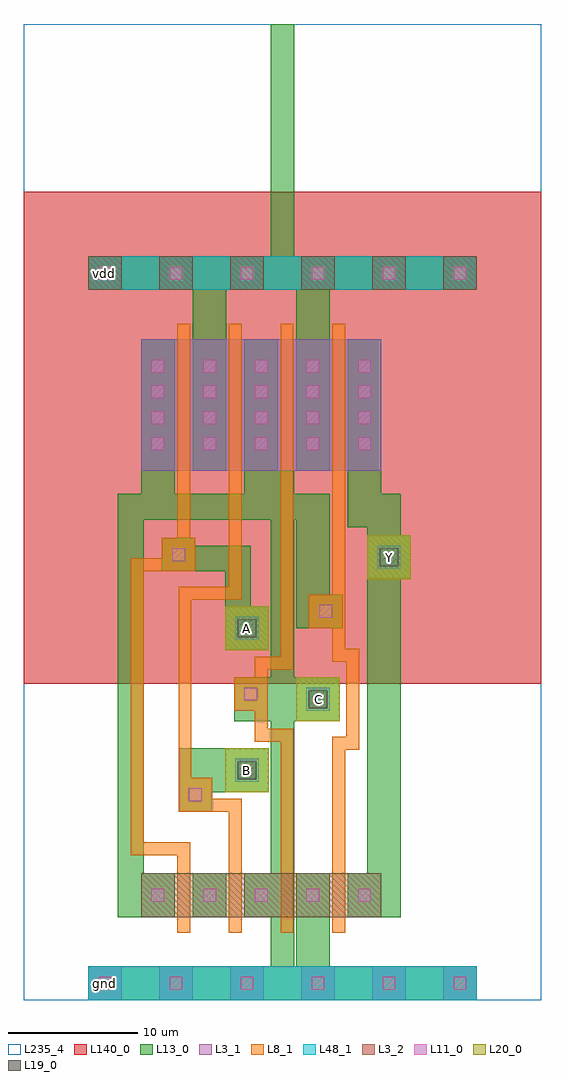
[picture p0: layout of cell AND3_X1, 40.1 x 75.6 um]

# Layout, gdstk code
import gdstk
lib = gdstk.Library(unit=1e-6, precision=1e-09)
def R(c, l, rs):  # rectangles x0, y0, x1, y1
    for r in rs: c.add(gdstk.rectangle(r[:2], r[2:], *l))
def A(c, l, x, y, w, h, nx, ny, dx, dy):  # array of equal rectangles
    R(c, l, [(x+i*dx, y+j*dy, x+i*dx+w, y+j*dy+h) for i in range(nx) for j in range(ny)])
def P(c, l, *ps):  # polygons
    for p in ps: c.add(gdstk.Polygon(p, *l))
L3_1 = (3, 1)
L3_2 = (3, 2)
L8_1 = (8, 1)
L11_0 = (11, 0)
L13_0 = (13, 0)
L19_0 = (19, 0)
L20_0 = (20, 0)
L48_1 = (48, 1)
L140_0 = (140, 0)
L235_4 = (235, 4)

and3_x1 = lib.new_cell('AND3_X1')
A(and3_x1, L3_1, 5, 0, 2.6, 2.6, 6, 1, 5.5, 0)
R(and3_x1, L3_1, [(9.1,41,27.7,51.2)])
A(and3_x1, L3_2, 5, 55, 2.6, 2.6, 6, 1, 5.5, 0)
R(and3_x1, L3_2, [(9.1,6.4,27.7,9.8)])
P(and3_x1, L8_1, [(11.9,5.2),(11.9,11.2),(8.3,11.2),(8.3,34.2),(10.7,34.2),(10.7,35.8),(11.9,35.8),(11.9,52.4),(12.9,52.4),(12.9,35.8),(13.3,35.8),(13.3,33.2),(9.3,33.2),(9.3,12.2),(12.9,12.2),(12.9,5.2)],
  [(15.9,5.2),(15.9,14.6),(12,14.6),(12,32),(15.9,32),(15.9,52.4),(16.9,52.4),(16.9,31),(13,31),(13,17.2),(14.6,17.2),(14.6,15.6),(16.9,15.6),(16.9,5.2)],
  [(19.9,5.2),(19.9,20),(17.9,20),(17.9,22.4),(16.3,22.4),(16.3,25),(17.9,25),(17.9,26.6),(19.9,26.6),(19.9,52.4),(20.9,52.4),(20.9,25.6),(18.9,25.6),(18.9,21),(20.9,21),(20.9,5.2)],
  [(23.9,5.2),(23.9,20.4),(25,20.4),(25,26.2),(23.9,26.2),(23.9,28.8),(22.1,28.8),(22.1,31.4),(23.9,31.4),(23.9,52.4),(24.9,52.4),(24.9,27.2),(26,27.2),(26,19.4),(24.9,19.4),(24.9,5.2)])
A(and3_x1, L11_0, 5.8, 0.8, 1, 1, 6, 2, 5.5, 55)
A(and3_x1, L11_0, 9.9, 42.6, 1, 1, 1, 4, 0, 2)
A(and3_x1, L11_0, 25.9, 42.6, 1, 1, 1, 4, 0, 2)
R(and3_x1, L11_0, [(9.9,7.6,10.9,8.6), (13.9,7.6,14.9,8.6), (13.9,7.6,14.9,8.6), (17.9,7.6,18.9,8.6), (17.9,7.6,18.9,8.6), (21.9,7.6,22.9,8.6), (21.9,7.6,22.9,8.6), (25.9,7.6,26.9,8.6), (12.8,15.4,13.8,16.4), (17.1,23.2,18.1,24.2), (22.9,29.6,23.9,30.6), (11.5,34,12.5,35), (13.9,42.6,14.9,43.6), (13.9,42.6,14.9,43.6), (17.9,42.6,18.9,43.6), (17.9,42.6,18.9,43.6), (21.9,42.6,22.9,43.6), (21.9,42.6,22.9,43.6), (13.9,44.6,14.9,45.6), (13.9,44.6,14.9,45.6), (17.9,44.6,18.9,45.6), (17.9,44.6,18.9,45.6), (21.9,44.6,22.9,45.6), (21.9,44.6,22.9,45.6), (13.9,46.6,14.9,47.6), (13.9,46.6,14.9,47.6), (17.9,46.6,18.9,47.6), (17.9,46.6,18.9,47.6), (21.9,46.6,22.9,47.6), (21.9,46.6,22.9,47.6), (13.9,48.6,14.9,49.6), (13.9,48.6,14.9,49.6), (17.9,48.6,18.9,49.6), (17.9,48.6,18.9,49.6), (21.9,48.6,22.9,49.6), (21.9,48.6,22.9,49.6)])
R(and3_x1, L13_0, [(13.1,6.4,15.7,9.8)])
P(and3_x1, L13_0, [(12,14.6),(12,19.5),(19,19.5),(19,16.1),(14.6,16.1),(14.6,14.6)],
  [(15.6,27.1),(15.6,33.2),(10.7,33.2),(10.7,35.8),(13.3,35.8),(13.3,35.2),(17.6,35.2),(17.6,30.5),(19,30.5),(19,27.1)],
  [(5,0),(5,2.6),(19.15,2.6),(19.15,6.4),(17.1,6.4),(17.1,9.8),(19.15,9.8),(19.15,21.6),(16.3,21.6),(16.3,25),(19.15,25),(19.15,37.2),(9.3,37.2),(9.3,9.8),(11.7,9.8),(11.7,6.4),(7.3,6.4),(7.3,39.2),(9.1,39.2),(9.1,51.2),(11.7,51.2),(11.7,39.2),(17.1,39.2),(17.1,51.2),(19.7,51.2),(19.7,41),(20.95,41),(20.95,39.2),(23.7,39.2),(23.7,31.4),(24.7,31.4),(24.7,28.8),(21.1,28.8),(21.1,37.2),(20.95,37.2),(20.95,25),(24.5,25),(24.5,21.6),(20.95,21.6),(20.95,2.6),(21.1,2.6),(21.1,9.8),(23.7,9.8),(23.7,2.6),(35.1,2.6),(35.1,0)],
  [(25.1,6.4),(25.1,9.8),(26.6,9.8),(26.6,36.6),(25.1,36.6),(25.1,51.2),(27.7,51.2),(27.7,39.2),(29.2,39.2),(29.2,36),(30,36),(30,32.6),(29.2,32.6),(29.2,6.4)],
  [(13.1,41),(13.1,55),(5,55),(5,57.6),(19.15,57.6),(19.15,75.6),(20.95,75.6),(20.95,57.6),(35.1,57.6),(35.1,55),(23.7,55),(23.7,41),(21.1,41),(21.1,55),(15.7,55),(15.7,41)])
R(and3_x1, L19_0, [(16.6,17.1,18,18.5), (22.1,22.6,23.5,24), (16.6,28.1,18,29.5), (27.6,33.6,29,35)])
R(and3_x1, L20_0, [(15.6,16.1,19,19.5), (21.1,21.6,24.5,25), (15.6,27.1,19,30.5), (26.6,32.6,30,36)])
R(and3_x1, L48_1, [(5,0,35.1,2.6), (16.4,16.9,18.2,18.7), (21.9,22.4,23.7,24.2), (16.4,27.9,18.2,29.7), (27.4,33.4,29.2,35.2), (5,55,35.1,57.6)])
R(and3_x1, L140_0, [(0,24.5,40.1,62.6)])
R(and3_x1, L235_4, [(0,0,40.1,75.6)])
and3_x1.add(gdstk.Label('vdd', (6.3,56.3), layer=48, texttype=0))
and3_x1.add(gdstk.Label('gnd', (6.3,1.3), layer=48, texttype=0))
and3_x1.add(gdstk.Label('Y', (28.3,34.3), layer=48, texttype=0))
and3_x1.add(gdstk.Label('A', (17.3,28.8), layer=48, texttype=0))
and3_x1.add(gdstk.Label('C', (22.8,23.3), layer=48, texttype=0))
and3_x1.add(gdstk.Label('B', (17.3,17.8), layer=48, texttype=0))
and3_x1.add(gdstk.Label('A', (17.3,28.8), layer=49, texttype=0))
and3_x1.add(gdstk.Label('B', (17.3,17.8), layer=49, texttype=0))
and3_x1.add(gdstk.Label('C', (22.8,23.3), layer=49, texttype=0))
and3_x1.add(gdstk.Label('Y', (28.3,34.3), layer=49, texttype=0))

lib.write_gds('AND3_X1.gds')
